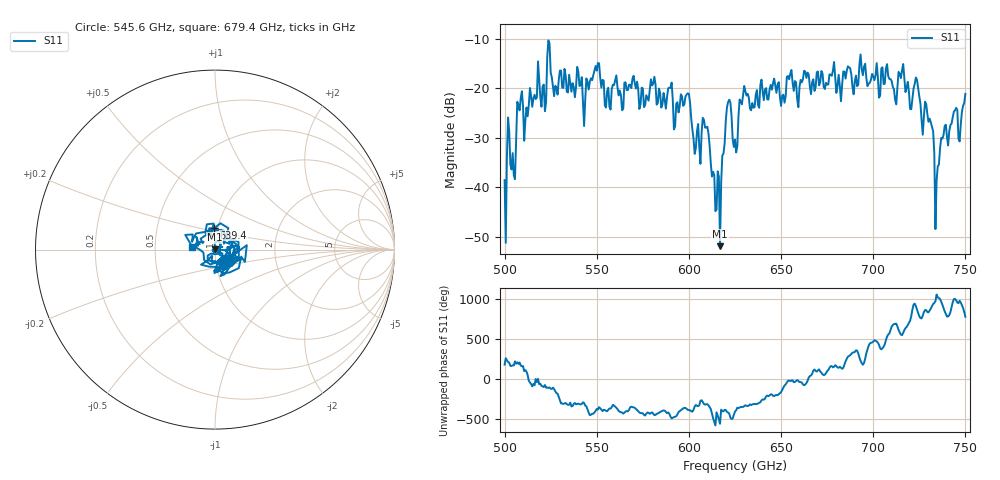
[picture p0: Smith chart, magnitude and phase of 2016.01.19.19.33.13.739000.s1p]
!Created with skrf (http://scikit-rf.org).
# GHz S RI R 50.0
!freq ReS11 ImS11
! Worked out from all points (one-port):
!   401 points, 500 GHz to 750 GHz, reference 50 ohm
!   lowest |S11| = -51.9 dB at 616.9 GHz (marker M1), VSWR 1.01, Z = 49.8 + j0.0872 ohm
!   |S11| at or under -10 dB: start of sweep to end of sweep
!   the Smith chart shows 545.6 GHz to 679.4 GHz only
!   S11 on the Smith chart (normalised r, x): 545.6 GHz: 1.08, -0.19; 639.4 GHz: 0.96, +0.24; 679.4 GHz: 0.78, +0.02
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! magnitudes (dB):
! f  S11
! 500 GHz  -38.6
! 502.5 GHz  -28.7
! 505 GHz  -37.6
! 508.1 GHz  -24.5
! 521.2 GHz  -19.2
! 524.4 GHz  -10.9
! 527.5 GHz  -19.5
! 531.2 GHz  -19.9
! 545.6 GHz  -20.2
! 562.5 GHz  -20.4
! 593.8 GHz  -22.8
! 599.4 GHz  -21.0
! 605 GHz  -27.2
! 608.8 GHz  -27.9
! 613.8 GHz  -37.5
! 616.9 GHz  -51.9
! 621.2 GHz  -22.8
! 625 GHz  -30.4
! 628.8 GHz  -23.2
! 639.4 GHz  -18.2
! 656.2 GHz  -18.9
! 679.4 GHz  -17.9
! 687.5 GHz  -15.9
! 718.8 GHz  -18.7
! 729.4 GHz  -25.3
! 734.4 GHz  -38.7
! 738.1 GHz  -29.5
! 750 GHz  -21.1
